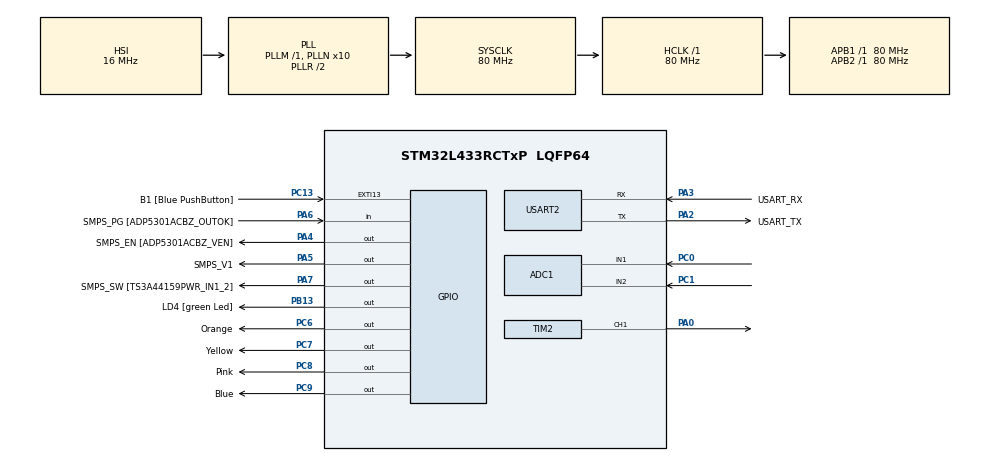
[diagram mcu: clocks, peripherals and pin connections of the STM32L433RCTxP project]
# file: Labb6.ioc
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ADC1.Channel-0\#ChannelRegularConversion=ADC_CHANNEL_1
ADC1.Channel-1\#ChannelRegularConversion=ADC_CHANNEL_2
ADC1.ContinuousConvMode=ENABLE
ADC1.NbrOfConversion=2
ADC1.NbrOfConversionFlag=1
ADC1.OffsetNumber-0\#ChannelRegularConversion=ADC_OFFSET_NONE
ADC1.OffsetNumber-1\#ChannelRegularConversion=ADC_OFFSET_NONE
ADC1.Rank-0\#ChannelRegularConversion=1
ADC1.Rank-1\#ChannelRegularConversion=2
ADC1.SamplingTime-0\#ChannelRegularConversion=ADC_SAMPLETIME_640CYCLES_5
ADC1.SamplingTime-1\#ChannelRegularConversion=ADC_SAMPLETIME_640CYCLES_5
ADC1.master=1
Mcu.Family=STM32L4
Mcu.Name=STM32L433RCTxP
Mcu.Package=LQFP64
NVIC.PriorityGroup=NVIC_PRIORITYGROUP_4
PA0.Signal=S_TIM2_CH1
PA13\ (JTMS-SWDIO).GPIO_Label=TMS
PA13\ (JTMS-SWDIO).Mode=Serial_Wire
PA13\ (JTMS-SWDIO).Signal=SYS_JTMS-SWDIO
PA14\ (JTCK-SWCLK).GPIO_Label=TCK
PA14\ (JTCK-SWCLK).Mode=Serial_Wire
PA14\ (JTCK-SWCLK).Signal=SYS_JTCK-SWCLK
PA2.GPIO_Label=USART_TX
PA2.GPIO_Mode=GPIO_MODE_AF_PP
PA2.GPIO_PuPd=GPIO_NOPULL
PA2.GPIO_Speed=GPIO_SPEED_FREQ_VERY_HIGH
PA2.Mode=Asynchronous
PA2.Signal=USART2_TX
PA3.GPIO_Label=USART_RX
PA3.GPIO_Mode=GPIO_MODE_AF_PP
PA3.GPIO_PuPd=GPIO_NOPULL
PA3.GPIO_Speed=GPIO_SPEED_FREQ_VERY_HIGH
PA3.Mode=Asynchronous
PA3.Signal=USART2_RX
PA4.GPIO_Label=SMPS_EN [ADP5301ACBZ_VEN]
PA4.Signal=GPIO_Output
PA5.GPIO_Label=SMPS_V1
PA5.GPIO_ModeDefaultOutputPP=GPIO_MODE_OUTPUT_PP
PA5.GPIO_PuPd=GPIO_NOPULL
PA5.GPIO_Speed=GPIO_SPEED_FREQ_LOW
PA5.Signal=GPIO_Output
PA6.GPIO_Label=SMPS_PG [ADP5301ACBZ_OUTOK]
PA6.GPIO_PuPd=GPIO_PULLUP
PA6.Signal=GPIO_Input
PA7.GPIO_Label=SMPS_SW [TS3A44159PWR_IN1_2]
PA7.Signal=GPIO_Output
PB13.GPIO_Label=LD4 [green Led]
PB13.Signal=GPIO_Output
PB3\ (JTDO-TRACESWO).GPIO_Label=SWO
PB3\ (JTDO-TRACESWO).Signal=SYS_JTDO-SWO
PC0.Signal=ADCx_IN1
PC1.Signal=ADCx_IN2
PC13.GPIO_Label=B1 [Blue PushButton]
PC13.GPIO_ModeDefaultEXTI=GPIO_MODE_IT_FALLING
PC13.GPIO_PuPd=GPIO_NOPULL
PC13.Signal=GPXTI13
PC14-OSC32_IN\ (PC14).Mode=LSE-External-Oscillator
PC14-OSC32_IN\ (PC14).Signal=RCC_OSC32_IN
PC15-OSC32_OUT\ (PC15).Mode=LSE-External-Oscillator
PC15-OSC32_OUT\ (PC15).Signal=RCC_OSC32_OUT
PC6.GPIO_Label=Orange
PC6.Signal=GPIO_Output
PC7.GPIO_Label=Yellow
PC7.Signal=GPIO_Output
PC8.GPIO_Label=Pink
PC8.Signal=GPIO_Output
PC9.GPIO_Label=Blue
PC9.Signal=GPIO_Output
PH0-OSC_IN\ (PH0).GPIO_Label=MCO
PH0-OSC_IN\ (PH0).Mode=HSE-External-Clock-Source
PH0-OSC_IN\ (PH0).Signal=RCC_OSC_IN
PH1-OSC_OUT\ (PH1).Signal=RCC_OSC_OUT
ProjectManager.HeapSize=0x200
ProjectManager.StackSize=0x400
ProjectManager.TargetToolchain=STM32CubeIDE
RCC.ADCFreq_Value=64000000
RCC.AHBFreq_Value=80000000
RCC.APB1Freq_Value=80000000
RCC.APB1TimFreq_Value=80000000
RCC.APB2Freq_Value=80000000
RCC.APB2TimFreq_Value=80000000
RCC.CortexFreq_Value=80000000
RCC.HCLKFreq_Value=80000000
RCC.HSE_VALUE=8000000
RCC.HSI48_VALUE=48000000
RCC.HSI_VALUE=16000000
RCC.MSI_VALUE=4000000
RCC.PLLN=10
RCC.PLLSourceVirtual=RCC_PLLSOURCE_HSI
RCC.PREFETCH_ENABLE=1
RCC.SYSCLKFreq_VALUE=80000000
RCC.SYSCLKSource=RCC_SYSCLKSOURCE_PLLCLK
RCC.USBFreq_Value=64000000
RCC.VCOOutputFreq_Value=160000000
SH.ADCx_IN1.0=ADC1_IN1,IN1-Single-Ended
SH.ADCx_IN2.0=ADC1_IN2,IN2-Single-Ended
SH.S_TIM2_CH1.0=TIM2_CH1,PWM Generation1 CH1
TIM2.Channel-PWM\ Generation1\ CH1=TIM_CHANNEL_1
TIM2.Period=19999
TIM2.Prescaler=79
TIM2.Pulse-PWM\ Generation1\ CH1=1000
USART2.VirtualMode-Asynchronous=VM_ASYNC
VP_TIM2_VS_ClockSourceINT.Mode=Internal
board=NUCLEO-L433RC-P

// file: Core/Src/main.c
/* USER CODE BEGIN Header */
/**
  ******************************************************************************
  * @file           : main.c
  * @brief          : Main program body
  ******************************************************************************
  * @attention
  *
  * Copyright (c) 2026 STMicroelectronics.
  * All rights reserved.
  *
  * This software is licensed under terms that can be found in the LICENSE file
  * in the root directory of this software component.
  * If no LICENSE file comes with this software, it is provided AS-IS.
  *
  ******************************************************************************
  */
/* USER CODE END Header */
#include "main.h"

/* USER CODE BEGIN PD */
#define SERVO_MIN_PULSE 500
#define SERVO_MAX_PULSE 2500
#define SERVO_ANGLE_RANGE 180

#define SERVO_STEP 4

/* USER CODE END PD */

ADC_HandleTypeDef hadc1;

TIM_HandleTypeDef htim2;

UART_HandleTypeDef huart2;

void SystemClock_Config(void);
static void MX_GPIO_Init(void);
static void MX_USART2_UART_Init(void);
static void MX_ADC1_Init(void);
static void MX_TIM2_Init(void);

/* USER CODE BEGIN 0 */
void Stepper_Apply(int8_t s){

	const int8_t seq[8][4] = {
			{1,0,0,0},
			{1,1,0,0},
			{0,1,0,0},
			{0,1,1,0},
			{0,0,1,0},
			{0,0,1,1},
			{0,0,0,1},
			{1,0,0,1}
	};

	HAL_GPIO_WritePin(GPIOC, Orange_Pin, seq[s][0]);
	HAL_GPIO_WritePin(GPIOC, Yellow_Pin, seq[s][1]);
	HAL_GPIO_WritePin(GPIOC, Pink_Pin,   seq[s][2]);
	HAL_GPIO_WritePin(GPIOC, Blue_Pin,   seq[s][3]);

}

int8_t step_state = 0;

void StepperMove (int8_t dir){
	if (dir > 0){
		step_state++;
	} else if (dir < 0) {
		step_state--;
	}

	Stepper_Apply(step_state);
}

/* USER CODE END 0 */

int main(void)
{

  /* MCU Configuration--------------------------------------------------------*/

  /* Reset of all peripherals, Initializes the Flash interface and the Systick. */
  HAL_Init();

  /* Configure the system clock */
  SystemClock_Config();

  /* Initialize all configured peripherals */
  MX_GPIO_Init();
  MX_USART2_UART_Init();
  MX_ADC1_Init();
  MX_TIM2_Init();

  /* Infinite loop */
  while (1)
  {

  }
}

void SystemClock_Config(void)
{
  RCC_OscInitTypeDef RCC_OscInitStruct = {0};
  RCC_ClkInitTypeDef RCC_ClkInitStruct = {0};

  /** Configure the main internal regulator output voltage
  */
  if (HAL_PWREx_ControlVoltageScaling(PWR_REGULATOR_VOLTAGE_SCALE1) != HAL_OK)
  {
    Error_Handler();
  }

  /** Initializes the RCC Oscillators according to the specified parameters
  * in the RCC_OscInitTypeDef structure.
  */
  RCC_OscInitStruct.OscillatorType = RCC_OSCILLATORTYPE_HSI;
  RCC_OscInitStruct.HSIState = RCC_HSI_ON;
  RCC_OscInitStruct.HSICalibrationValue = RCC_HSICALIBRATION_DEFAULT;
  RCC_OscInitStruct.PLL.PLLState = RCC_PLL_ON;
  RCC_OscInitStruct.PLL.PLLSource = RCC_PLLSOURCE_HSI;
  RCC_OscInitStruct.PLL.PLLM = 1;
  RCC_OscInitStruct.PLL.PLLN = 10;
  RCC_OscInitStruct.PLL.PLLP = RCC_PLLP_DIV7;
  RCC_OscInitStruct.PLL.PLLQ = RCC_PLLQ_DIV2;
  RCC_OscInitStruct.PLL.PLLR = RCC_PLLR_DIV2;
  if (HAL_RCC_OscConfig(&RCC_OscInitStruct) != HAL_OK)
  {
    Error_Handler();
  }

  /** Initializes the CPU, AHB and APB buses clocks
  */
  RCC_ClkInitStruct.ClockType = RCC_CLOCKTYPE_HCLK|RCC_CLOCKTYPE_SYSCLK
                              |RCC_CLOCKTYPE_PCLK1|RCC_CLOCKTYPE_PCLK2;
  RCC_ClkInitStruct.SYSCLKSource = RCC_SYSCLKSOURCE_PLLCLK;
  RCC_ClkInitStruct.AHBCLKDivider = RCC_SYSCLK_DIV1;
  RCC_ClkInitStruct.APB1CLKDivider = RCC_HCLK_DIV1;
  RCC_ClkInitStruct.APB2CLKDivider = RCC_HCLK_DIV1;

  if (HAL_RCC_ClockConfig(&RCC_ClkInitStruct, FLASH_LATENCY_4) != HAL_OK)
  {
    Error_Handler();
  }
}

static void MX_ADC1_Init(void)
{

  ADC_ChannelConfTypeDef sConfig = {0};

  /** Common config
  */
  hadc1.Instance = ADC1;
  hadc1.Init.ClockPrescaler = ADC_CLOCK_ASYNC_DIV1;
  hadc1.Init.Resolution = ADC_RESOLUTION_12B;
  hadc1.Init.DataAlign = ADC_DATAALIGN_RIGHT;
  hadc1.Init.ScanConvMode = ADC_SCAN_ENABLE;
  hadc1.Init.EOCSelection = ADC_EOC_SINGLE_CONV;
  hadc1.Init.LowPowerAutoWait = DISABLE;
  hadc1.Init.ContinuousConvMode = ENABLE;
  hadc1.Init.NbrOfConversion = 2;
  hadc1.Init.DiscontinuousConvMode = DISABLE;
  hadc1.Init.ExternalTrigConv = ADC_SOFTWARE_START;
  hadc1.Init.ExternalTrigConvEdge = ADC_EXTERNALTRIGCONVEDGE_NONE;
  hadc1.Init.DMAContinuousRequests = DISABLE;
  hadc1.Init.Overrun = ADC_OVR_DATA_PRESERVED;
  hadc1.Init.OversamplingMode = DISABLE;
  if (HAL_ADC_Init(&hadc1) != HAL_OK)
  {
    Error_Handler();
  }

  /** Configure Regular Channel
  */
  sConfig.Channel = ADC_CHANNEL_1;
  sConfig.Rank = ADC_REGULAR_RANK_1;
  sConfig.SamplingTime = ADC_SAMPLETIME_640CYCLES_5;
  sConfig.SingleDiff = ADC_SINGLE_ENDED;
  sConfig.OffsetNumber = ADC_OFFSET_NONE;
  sConfig.Offset = 0;
  if (HAL_ADC_ConfigChannel(&hadc1, &sConfig) != HAL_OK)
  {
    Error_Handler();
  }

  /** Configure Regular Channel
  */
  sConfig.Channel = ADC_CHANNEL_2;
  sConfig.Rank = ADC_REGULAR_RANK_2;
  if (HAL_ADC_ConfigChannel(&hadc1, &sConfig) != HAL_OK)
  {
    Error_Handler();
  }

}

static void MX_TIM2_Init(void)
{

  TIM_ClockConfigTypeDef sClockSourceConfig = {0};
  TIM_MasterConfigTypeDef sMasterConfig = {0};
  TIM_OC_InitTypeDef sConfigOC = {0};

  htim2.Instance = TIM2;
  htim2.Init.Prescaler = 79;
  htim2.Init.CounterMode = TIM_COUNTERMODE_UP;
  htim2.Init.Period = 19999;
  htim2.Init.ClockDivision = TIM_CLOCKDIVISION_DIV1;
  htim2.Init.AutoReloadPreload = TIM_AUTORELOAD_PRELOAD_DISABLE;
  if (HAL_TIM_Base_Init(&htim2) != HAL_OK)
  {
    Error_Handler();
  }
  sClockSourceConfig.ClockSource = TIM_CLOCKSOURCE_INTERNAL;
  if (HAL_TIM_ConfigClockSource(&htim2, &sClockSourceConfig) != HAL_OK)
  {
    Error_Handler();
  }
  if (HAL_TIM_PWM_Init(&htim2) != HAL_OK)
  {
    Error_Handler();
  }
  sMasterConfig.MasterOutputTrigger = TIM_TRGO_RESET;
  sMasterConfig.MasterSlaveMode = TIM_MASTERSLAVEMODE_DISABLE;
  if (HAL_TIMEx_MasterConfigSynchronization(&htim2, &sMasterConfig) != HAL_OK)
  {
    Error_Handler();
  }
  sConfigOC.OCMode = TIM_OCMODE_PWM1;
  sConfigOC.Pulse = 1000;
  sConfigOC.OCPolarity = TIM_OCPOLARITY_HIGH;
  sConfigOC.OCFastMode = TIM_OCFAST_DISABLE;
  if (HAL_TIM_PWM_ConfigChannel(&htim2, &sConfigOC, TIM_CHANNEL_1) != HAL_OK)
  {
    Error_Handler();
  }
  HAL_TIM_MspPostInit(&htim2);

}

static void MX_USART2_UART_Init(void)
{

  huart2.Instance = USART2;
  huart2.Init.BaudRate = 115200;
  huart2.Init.WordLength = UART_WORDLENGTH_8B;
  huart2.Init.StopBits = UART_STOPBITS_1;
  huart2.Init.Parity = UART_PARITY_NONE;
  huart2.Init.Mode = UART_MODE_TX_RX;
  huart2.Init.HwFlowCtl = UART_HWCONTROL_NONE;
  huart2.Init.OverSampling = UART_OVERSAMPLING_16;
  huart2.Init.OneBitSampling = UART_ONE_BIT_SAMPLE_DISABLE;
  huart2.AdvancedInit.AdvFeatureInit = UART_ADVFEATURE_NO_INIT;
  if (HAL_UART_Init(&huart2) != HAL_OK)
  {
    Error_Handler();
  }

}

static void MX_GPIO_Init(void)
{
  GPIO_InitTypeDef GPIO_InitStruct = {0};

  /* GPIO Ports Clock Enable */
  __HAL_RCC_GPIOC_CLK_ENABLE();
  __HAL_RCC_GPIOH_CLK_ENABLE();
  __HAL_RCC_GPIOA_CLK_ENABLE();
  __HAL_RCC_GPIOB_CLK_ENABLE();

  /*Configure GPIO pin Output Level */
  HAL_GPIO_WritePin(GPIOA, SMPS_EN_Pin|SMPS_V1_Pin|SMPS_SW_Pin, GPIO_PIN_RESET);

  /*Configure GPIO pin Output Level */
  HAL_GPIO_WritePin(LD4_GPIO_Port, LD4_Pin, GPIO_PIN_RESET);

  /*Configure GPIO pin Output Level */
  HAL_GPIO_WritePin(GPIOC, Orange_Pin|Yellow_Pin|Pink_Pin|Blue_Pin, GPIO_PIN_RESET);

  /*Configure GPIO pin : B1_Pin */
  GPIO_InitStruct.Pin = B1_Pin;
  GPIO_InitStruct.Mode = GPIO_MODE_IT_FALLING;
  GPIO_InitStruct.Pull = GPIO_NOPULL;
  HAL_GPIO_Init(B1_GPIO_Port, &GPIO_InitStruct);

  /*Configure GPIO pins : SMPS_EN_Pin SMPS_V1_Pin SMPS_SW_Pin */
  GPIO_InitStruct.Pin = SMPS_EN_Pin|SMPS_V1_Pin|SMPS_SW_Pin;
  GPIO_InitStruct.Mode = GPIO_MODE_OUTPUT_PP;
  GPIO_InitStruct.Pull = GPIO_NOPULL;
  GPIO_InitStruct.Speed = GPIO_SPEED_FREQ_LOW;
  HAL_GPIO_Init(GPIOA, &GPIO_InitStruct);

  /*Configure GPIO pin : SMPS_PG_Pin */
  GPIO_InitStruct.Pin = SMPS_PG_Pin;
  GPIO_InitStruct.Mode = GPIO_MODE_INPUT;
  GPIO_InitStruct.Pull = GPIO_PULLUP;
  HAL_GPIO_Init(SMPS_PG_GPIO_Port, &GPIO_InitStruct);

  /*Configure GPIO pin : LD4_Pin */
  GPIO_InitStruct.Pin = LD4_Pin;
  GPIO_InitStruct.Mode = GPIO_MODE_OUTPUT_PP;
  GPIO_InitStruct.Pull = GPIO_NOPULL;
  GPIO_InitStruct.Speed = GPIO_SPEED_FREQ_LOW;
  HAL_GPIO_Init(LD4_GPIO_Port, &GPIO_InitStruct);

  /*Configure GPIO pins : Orange_Pin Yellow_Pin Pink_Pin Blue_Pin */
  GPIO_InitStruct.Pin = Orange_Pin|Yellow_Pin|Pink_Pin|Blue_Pin;
  GPIO_InitStruct.Mode = GPIO_MODE_OUTPUT_PP;
  GPIO_InitStruct.Pull = GPIO_NOPULL;
  GPIO_InitStruct.Speed = GPIO_SPEED_FREQ_LOW;
  HAL_GPIO_Init(GPIOC, &GPIO_InitStruct);

}

void Error_Handler(void)
{
  __disable_irq();
  while (1)
  {
  }
}
